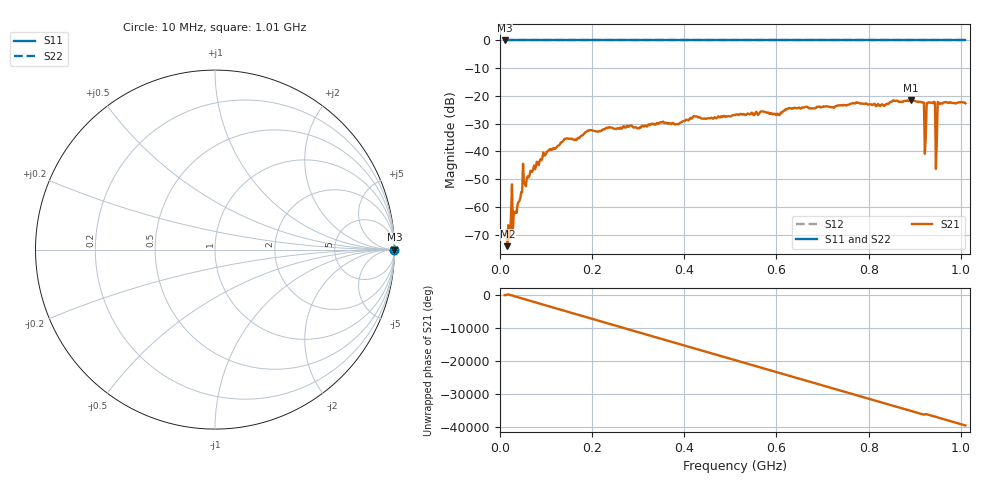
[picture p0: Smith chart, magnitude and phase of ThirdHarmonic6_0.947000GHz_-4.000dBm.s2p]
! 8/16/2025 6:46:06 AM
! C:\ANRITSUVNA\TEMP\TEMP.S2P
! CHANNEL.1
! TR.MEASUREMENT
! RAW.DATA
! RF.CORRECTION.OFF
! AVERAGING.OFF
! IF.BANDWIDTH: 5KHZ
! SWEEPTYPE:  FREQ.SWEEP(Linear)
! Reference Plane Port Info
! PORT:  PORT1  PORT2
! DISTANCE:  0  m  0  m
! TIME:  0  s  0  s
! PHASE.OFFSET:  0  deg.  0  deg.
! LOSS:  0  dB  0  dB
! REF.LOSS:  0  dB  0  dB
! REF.FREQ:  0  Hz  0  Hz
! Power Info
! POWER:  -20  dBm  -20  dBm
! EFF.POWER:  -20  dBm  -20  dBm
! SOURCE.ATTEN:  0  dB  0  dB
! TEST.ATTEN:  0  dB  0  dB
# GHZ S RI R 50.0
! FREQ.GHZ  S11RE  S11IM  S21RE  S21IM  S12RE  S12IM  S22RE  S22IM
!; PortSelection: Port_12
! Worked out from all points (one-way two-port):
!   501 points, 10 MHz to 1.01 GHz, reference 50 ohm
!   highest |S21| = -21.42 dB at 892 MHz (marker M1); lowest = -74.1 dB at 16 MHz (marker M2)
!   lowest |S11| = 0.0 dB at 10 MHz (marker M3)
!   |S11| at or under -10 dB: nowhere
!   |S22| runs from 0.0 to 0.0 dB; largest |S21 - S12| = 1.1
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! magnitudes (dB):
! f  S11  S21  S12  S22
! 10 MHz  0.0  -70.3  0.0  0.0
! 16 MHz  0.0  -74.1  0.0  0.0
! 28 MHz  0.0  -68.2  0.0  0.0
! 32 MHz  0.0  -62.2  0.0  0.0
! 54 MHz  0.0  -51.4  0.0  0.0
! 106 MHz  0.0  -39.6  0.0  0.0
! 178 MHz  0.0  -34.2  0.0  0.0
! 344 MHz  0.0  -30.0  0.0  0.0
! 510 MHz  0.0  -26.9  0.0  0.0
! 678 MHz  0.0  -24.5  0.0  0.0
! 844 MHz  0.0  -22.7  0.0  0.0
! 892 MHz  0.0  -21.4  0.0  0.0
! 916 MHz  0.0  -22.2  0.0  0.0
! 920 MHz  0.0  -22.4  0.0  0.0
! 922 MHz  0.0  -40.8  0.0  0.0
! 926 MHz  0.0  -22.6  0.0  0.0
! 930 MHz  0.0  -22.3  0.0  0.0
! 940 MHz  0.0  -22.6  0.0  0.0
! 944 MHz  0.0  -22.4  0.0  0.0
! 950 MHz  0.0  -22.2  0.0  0.0
! 954 MHz  0.0  -22.9  0.0  0.0
! 1.01 GHz  0.0  -22.7  0.0  0.0
